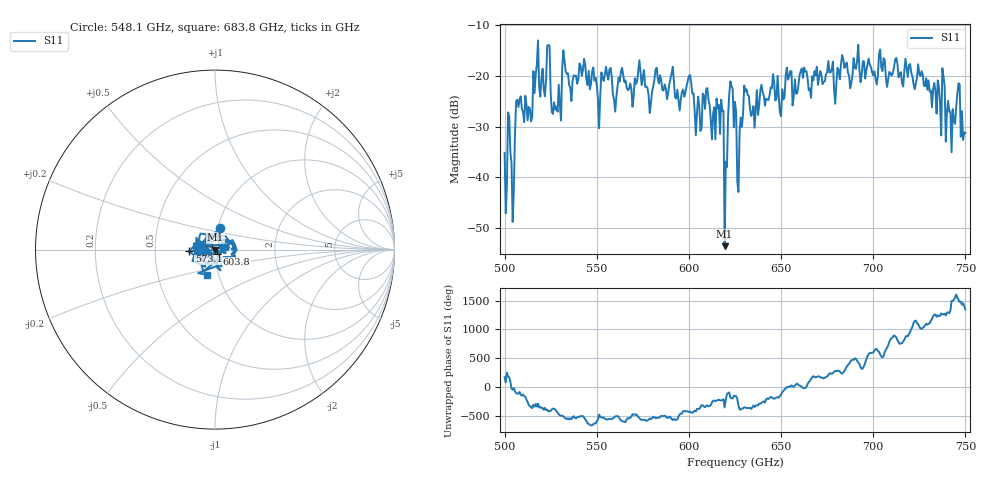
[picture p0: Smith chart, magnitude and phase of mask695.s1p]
!Created with skrf (http://scikit-rf.org).
# GHz S MA R 50.0
!freq magS11 angS11
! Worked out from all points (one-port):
!   401 points, 500 GHz to 750 GHz, reference 50 ohm
!   lowest |S11| = -53.7 dB at 619.4 GHz (marker M1), VSWR 1.00, Z = 50.2 + j0.0259 ohm
!   |S11| at or under -10 dB: start of sweep to end of sweep
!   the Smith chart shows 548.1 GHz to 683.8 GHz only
!   S11 on the Smith chart (normalised r, x): 548.1 GHz: 1.03, +0.25; 573.1 GHz: 0.75, -0.01; 603.8 GHz: 1.02, -0.05; 683.8 GHz: 0.88, -0.25
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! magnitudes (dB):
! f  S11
! 500 GHz  -35.2
! 502.5 GHz  -28.0
! 504.4 GHz  -48.9
! 507.5 GHz  -26.1
! 513.8 GHz  -26.5
! 516.9 GHz  -19.7
! 523.8 GHz  -13.9
! 526.9 GHz  -25.2
! 531.2 GHz  -18.4
! 548.1 GHz  -18.3
! 562.5 GHz  -21.1
! 573.1 GHz  -16.9
! 593.8 GHz  -22.7
! 600 GHz  -20.0
! 603.8 GHz  -31.7
! 617.5 GHz  -24.7
! 619.4 GHz  -53.7
! 622.5 GHz  -21.0
! 625 GHz  -25.1
! 627.5 GHz  -31.0
! 631.2 GHz  -22.6
! 656.2 GHz  -25.8
! 683.8 GHz  -16.7
! 687.5 GHz  -22.4
! 718.8 GHz  -20.2
! 743.1 GHz  -26.5
! 745.6 GHz  -23.5
! 750 GHz  -31.2
